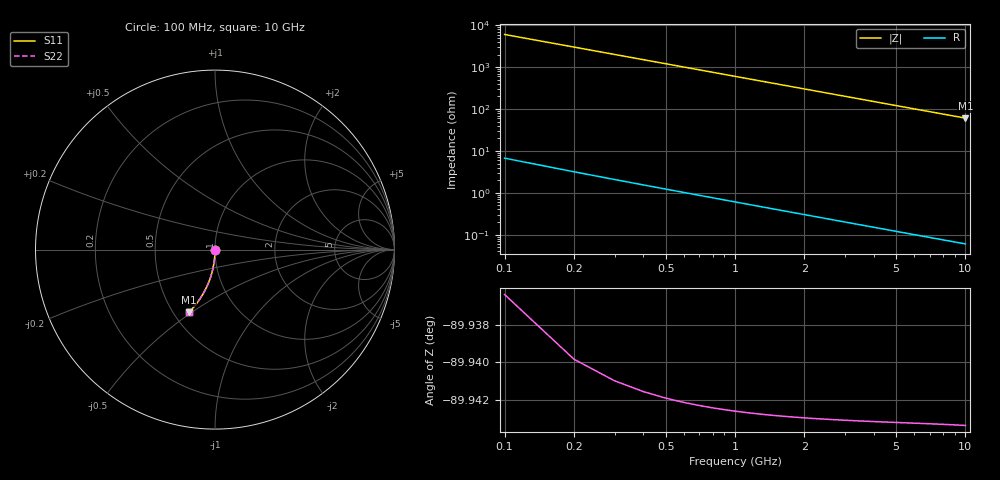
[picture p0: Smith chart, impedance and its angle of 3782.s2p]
# Hz S RI R 50.00
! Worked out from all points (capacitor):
!   100 points, 100 MHz to 10 GHz, reference 50 ohm
!   read as one part in shunt: C = 263 fF near 100 MHz
!   lowest |Z| = 60.7 ohm at 10 GHz (marker M1)
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1e8  -9.43e-06 -0.0041  1 -0.00417  1 -0.00417  -9.43e-06 -0.0041
2e8  -6.48e-05 -0.00821  0.9999 -0.00834  0.9999 -0.00834  -6.48e-05 -0.00821
3e8  -0.000154 -0.0123  0.9998 -0.0125  0.9998 -0.0125  -0.000154 -0.0123
4e8  -0.000278 -0.0164  0.9997 -0.0167  0.9997 -0.0167  -0.000278 -0.0164
5e8  -0.000436 -0.0205  0.9995 -0.0208  0.9995 -0.0208  -0.000436 -0.0205
6e8  -0.000628 -0.0246  0.9993 -0.025  0.9993 -0.025  -0.000628 -0.0246
7e8  -0.000854 -0.0287  0.9991 -0.0292  0.9991 -0.0292  -0.000854 -0.0287
8e8  -0.00111 -0.0328  0.9989 -0.0333  0.9989 -0.0333  -0.00111 -0.0328
9e8  -0.00141 -0.0369  0.9986 -0.0375  0.9986 -0.0375  -0.00141 -0.0369
1.1e9  -0.0021 -0.045  0.9979 -0.0458  0.9979 -0.0458  -0.0021 -0.045
1.4e9  -0.00339 -0.0572  0.9966 -0.0582  0.9966 -0.0582  -0.00339 -0.0572
1.8e9  -0.00557 -0.0734  0.9944 -0.0746  0.9944 -0.0746  -0.00557 -0.0734
2.1e9  -0.00756 -0.0855  0.9924 -0.0869  0.9924 -0.0869  -0.00756 -0.0855
2.5e9  -0.0107 -0.1014  0.9893 -0.1031  0.9893 -0.1031  -0.0107 -0.1014
2.9e9  -0.0143 -0.1172  0.9857 -0.1191  0.9857 -0.1191  -0.0143 -0.1172
3.4e9  -0.0195 -0.1367  0.9805 -0.1389  0.9805 -0.1389  -0.0195 -0.1367
4.2e9  -0.0294 -0.167  0.9706 -0.1698  0.9706 -0.1698  -0.0294 -0.167
5.1e9  -0.0427 -0.2  0.9573 -0.2033  0.9573 -0.2033  -0.0427 -0.2
5.9e9  -0.0562 -0.228  0.9437 -0.2319  0.9437 -0.2319  -0.0562 -0.228
6.7e9  -0.0713 -0.2546  0.9287 -0.2591  0.9287 -0.2591  -0.0713 -0.2546
8.4e9  -0.1075 -0.3064  0.8925 -0.3121  0.8925 -0.3121  -0.1075 -0.3064
1e10  -0.1456 -0.3489  0.8544 -0.3556  0.8544 -0.3556  -0.1456 -0.3489
